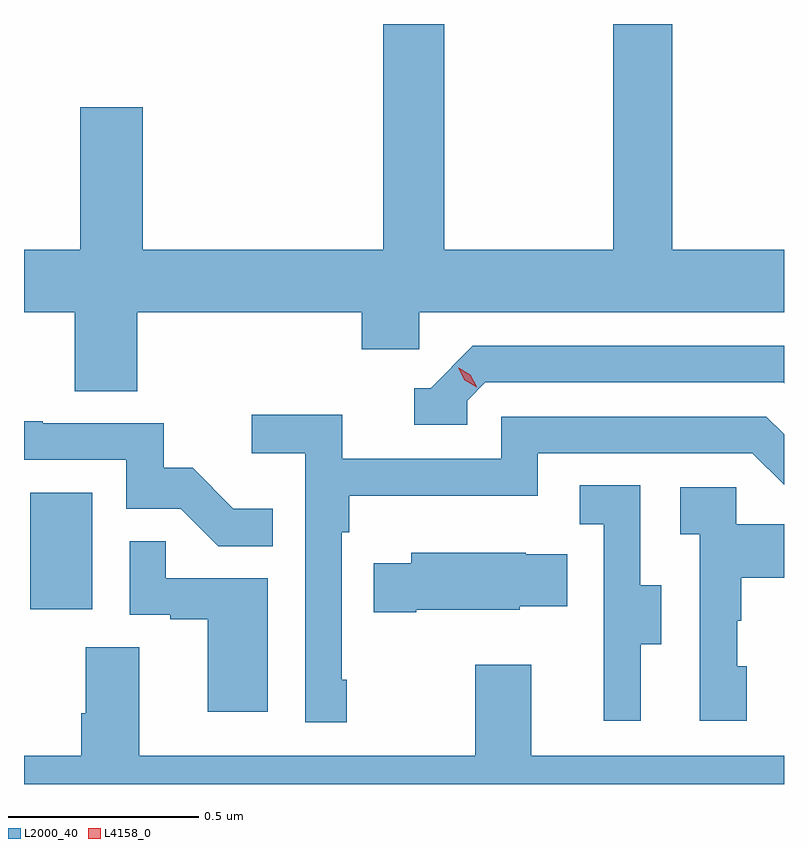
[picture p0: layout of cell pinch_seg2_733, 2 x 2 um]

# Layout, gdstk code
import gdstk
lib = gdstk.Library(unit=1e-6, precision=1e-09)
def R(c, l, rs):  # rectangles x0, y0, x1, y1
    for r in rs: c.add(gdstk.rectangle(r[:2], r[2:], *l))
def P(c, l, *ps):  # polygons
    for p in ps: c.add(gdstk.Polygon(p, *l))
L2000_40 = (2000, 40)
L4158_0 = (4158, 0)

pinch_seg2_733 = lib.new_cell('pinch_seg2_733')
R(pinch_seg2_733, L2000_40, [(1141.898,590.91,1142.062,591.217)])
P(pinch_seg2_733, L2000_40, [(1142.18,591.692),(1142.771,591.692),(1142.771,591.594),(1142.922,591.594),(1142.922,591.692),(1143.882,591.692),(1143.882,591.856),(1143.588,591.856),(1143.588,592.45),(1143.433,592.45),(1143.433,591.856),(1142.988,591.856),(1142.988,592.45),(1142.828,592.45),(1142.828,591.856),(1142.194,591.856),(1142.194,592.231),(1142.03,592.231),(1142.03,591.856),(1141.882,591.856),(1141.882,591.692),(1142.015,591.692),(1142.015,591.484),(1142.18,591.484)],
  [(1143.048,591.459),(1143.096,591.507),(1143.879,591.507),(1143.882,591.504),(1143.882,591.603),(1143.063,591.603),(1142.952,591.492),(1142.909,591.492),(1142.909,591.396),(1143.048,591.396)],
  [(1142.731,590.725),(1142.718,590.725),(1142.718,591.113),(1142.738,591.113),(1142.738,591.209),(1143.234,591.209),(1143.234,591.321),(1143.798,591.321),(1143.882,591.237),(1143.882,591.37),(1143.835,591.417),(1143.138,591.417),(1143.138,591.306),(1142.72,591.306),(1142.72,591.422),(1142.481,591.422),(1142.481,591.32),(1142.622,591.32),(1142.622,590.613),(1142.731,590.613)],
  [(1142.537,591.175),(1142.433,591.175),(1142.326,591.282),(1142.25,591.282),(1142.25,591.399),(1141.931,591.399),(1141.931,591.404),(1141.882,591.404),(1141.882,591.303),(1142.151,591.303),(1142.151,591.174),(1142.295,591.174),(1142.393,591.076),(1142.537,591.076)],
  [(1143.505,590.818),(1143.559,590.818),(1143.559,590.973),(1143.504,590.973),(1143.504,591.236),(1143.345,591.236),(1143.345,591.133),(1143.408,591.133),(1143.408,590.829),(1143.407,590.829),(1143.407,590.616),(1143.505,590.616)],
  [(1143.784,590.76),(1143.759,590.76),(1143.759,590.879),(1143.769,590.879),(1143.769,590.993),(1143.882,590.993),(1143.882,591.133),(1143.756,591.133),(1143.756,591.231),(1143.609,591.231),(1143.609,591.107),(1143.66,591.107),(1143.66,590.616),(1143.784,590.616)],
  [(1142.524,590.991),(1142.255,590.991),(1142.255,591.089),(1142.16,591.089),(1142.16,590.895),(1142.267,590.895),(1142.267,590.883),(1142.366,590.883),(1142.366,590.64),(1142.524,590.64)],
  [(1142.914,590.909),(1143.186,590.909),(1143.186,590.918),(1143.311,590.918),(1143.311,591.055),(1143.203,591.055),(1143.203,591.058),(1142.901,591.058),(1142.901,591.031),(1142.803,591.031),(1142.803,590.902),(1142.914,590.902)],
  [(1143.882,590.524),(1143.217,590.524),(1143.217,590.764),(1143.07,590.764),(1143.07,590.524),(1142.185,590.524),(1142.185,590.81),(1142.045,590.81),(1142.045,590.636),(1142.033,590.636),(1142.033,590.524),(1141.882,590.524),(1141.882,590.45),(1143.882,590.45)])
P(pinch_seg2_733, L4158_0, [(1143.073,591.494),(1143.042,591.513),(1143.025,591.545),(1143.025,591.545),(1143.026,591.545),(1143.056,591.527),(1143.073,591.495),(1143.073,591.494)])

lib.write_gds('pinch_seg2_733.gds')
